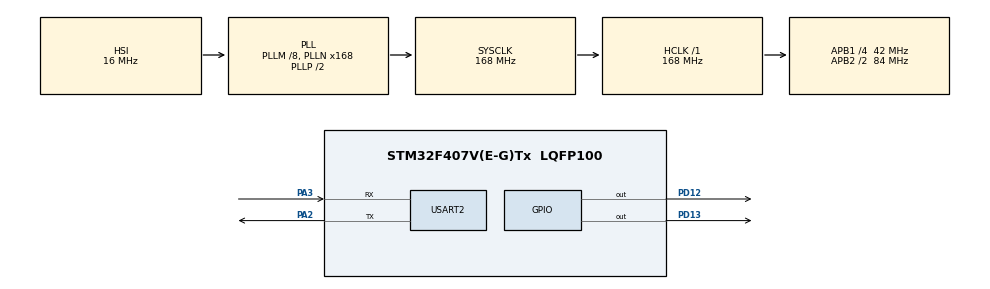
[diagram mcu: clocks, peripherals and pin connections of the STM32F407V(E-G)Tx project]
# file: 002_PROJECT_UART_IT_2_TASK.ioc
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FREERTOS.Tasks01=Task01,0,128,LEDTask01,Default,NULL,Dynamic,NULL,NULL;Task02,0,128,ECHOTask02,Default,NULL,Dynamic,NULL,NULL
Mcu.Family=STM32F4
Mcu.Name=STM32F407V(E-G)Tx
Mcu.Package=LQFP100
NVIC.PriorityGroup=NVIC_PRIORITYGROUP_4
NVIC.TIM1_UP_TIM10_IRQn=true\:15\:0\:false\:false\:true\:false\:false\:true\:true
NVIC.TimeBase=TIM1_UP_TIM10_IRQn
NVIC.TimeBaseIP=TIM1
NVIC.USART2_IRQn=true\:5\:0\:false\:false\:true\:true\:true\:true\:true
PA2.Mode=Asynchronous
PA2.Signal=USART2_TX
PA3.Mode=Asynchronous
PA3.Signal=USART2_RX
PD12.Signal=GPIO_Output
PD13.Signal=GPIO_Output
PH0-OSC_IN.Mode=HSE-External-Oscillator
PH0-OSC_IN.Signal=RCC_OSC_IN
PH1-OSC_OUT.Mode=HSE-External-Oscillator
PH1-OSC_OUT.Signal=RCC_OSC_OUT
ProjectManager.HeapSize=0x200
ProjectManager.StackSize=0x400
ProjectManager.TargetToolchain=STM32CubeIDE
RCC.48MHZClocksFreq_Value=48000000
RCC.AHBFreq_Value=168000000
RCC.APB1CLKDivider=RCC_HCLK_DIV4
RCC.APB1Freq_Value=42000000
RCC.APB1TimFreq_Value=84000000
RCC.APB2CLKDivider=RCC_HCLK_DIV2
RCC.APB2Freq_Value=84000000
RCC.APB2TimFreq_Value=168000000
RCC.CortexFreq_Value=168000000
RCC.HCLKFreq_Value=168000000
RCC.HSE_VALUE=8000000
RCC.HSI_VALUE=16000000
RCC.LSE_VALUE=32768
RCC.PLLM=8
RCC.PLLN=168
RCC.PLLQ=7
RCC.SYSCLKFreq_VALUE=168000000
RCC.SYSCLKSource=RCC_SYSCLKSOURCE_PLLCLK
RCC.VCOOutputFreq_Value=336000000
USART2.VirtualMode=VM_ASYNC
VP_FREERTOS_VS_CMSIS_V1.Mode=CMSIS_V1
VP_SYS_VS_tim1.Mode=TIM1
board=STM32F407G-DISC1

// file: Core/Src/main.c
/* USER CODE BEGIN Header */
/**
  ******************************************************************************
  * @file           : main.c
  * @brief          : Main program body
  ******************************************************************************
  * @attention
  *
  * Copyright (c) 2022 STMicroelectronics.
  * All rights reserved.
  *
  * This software is licensed under terms that can be found in the LICENSE file
  * in the root directory of this software component.
  * If no LICENSE file comes with this software, it is provided AS-IS.
  *
  ******************************************************************************
  */
/* USER CODE END Header */
#include "main.h"
#include "cmsis_os.h"

/* USER CODE BEGIN Includes */

#include <stdio.h>
#include <string.h>

/* USER CODE END Includes */

/* USER CODE BEGIN PTD */

typedef struct				// Uart_InitTypeDef Struct for configuring the UART Parameters.
{
	uint32_t baudrate;
	uint8_t uart_parameters;

}Uart_InitTypeDef;

/* USER CODE END PTD */

UART_HandleTypeDef huart2;

osThreadId Task01Handle;
osThreadId Task02Handle;
/* USER CODE BEGIN PV */

char tx_buffer[20];
char rx_buffer[10];
char rx_call_buffer[1];
uint8_t rx_stop = 0;
uint8_t rx_ledon = 0;
uint8_t rx_ledoff = 0;
uint8_t count = 0;
uint8_t i = 0;

/* USER CODE END PV */

void SystemClock_Config(void);
static void MX_GPIO_Init(void);
static void MX_USART2_UART_Init(void);
void LEDTask01(void const * argument);
void ECHOTask02(void const * argument);

int main(void)
{

  /* MCU Configuration--------------------------------------------------------*/

  /* Reset of all peripherals, Initializes the Flash interface and the Systick. */
  HAL_Init();

  /* Configure the system clock */
  SystemClock_Config();

  /* Initialize all configured peripherals */
  MX_GPIO_Init();
  MX_USART2_UART_Init();

  /* Create the thread(s) */
  /* definition and creation of Task01 */
  osThreadDef(Task01, LEDTask01, osPriorityNormal, 0, 128);
  Task01Handle = osThreadCreate(osThread(Task01), NULL);

  /* definition and creation of Task02 */
  osThreadDef(Task02, ECHOTask02, osPriorityNormal, 0, 128);
  Task02Handle = osThreadCreate(osThread(Task02), NULL);

  /* Start scheduler */
  osKernelStart();

  /* We should never get here as control is now taken by the scheduler */
  /* Infinite loop */
  while (1)
  {

  }
}

void SystemClock_Config(void)
{
  RCC_OscInitTypeDef RCC_OscInitStruct = {0};
  RCC_ClkInitTypeDef RCC_ClkInitStruct = {0};

  /** Configure the main internal regulator output voltage
  */
  __HAL_RCC_PWR_CLK_ENABLE();
  __HAL_PWR_VOLTAGESCALING_CONFIG(PWR_REGULATOR_VOLTAGE_SCALE1);

  /** Initializes the RCC Oscillators according to the specified parameters
  * in the RCC_OscInitTypeDef structure.
  */
  RCC_OscInitStruct.OscillatorType = RCC_OSCILLATORTYPE_HSI;
  RCC_OscInitStruct.HSIState = RCC_HSI_ON;
  RCC_OscInitStruct.HSICalibrationValue = RCC_HSICALIBRATION_DEFAULT;
  RCC_OscInitStruct.PLL.PLLState = RCC_PLL_ON;
  RCC_OscInitStruct.PLL.PLLSource = RCC_PLLSOURCE_HSI;
  RCC_OscInitStruct.PLL.PLLM = 8;
  RCC_OscInitStruct.PLL.PLLN = 168;
  RCC_OscInitStruct.PLL.PLLP = RCC_PLLP_DIV2;
  RCC_OscInitStruct.PLL.PLLQ = 7;
  if (HAL_RCC_OscConfig(&RCC_OscInitStruct) != HAL_OK)
  {
    Error_Handler();
  }

  /** Initializes the CPU, AHB and APB buses clocks
  */
  RCC_ClkInitStruct.ClockType = RCC_CLOCKTYPE_HCLK|RCC_CLOCKTYPE_SYSCLK
                              |RCC_CLOCKTYPE_PCLK1|RCC_CLOCKTYPE_PCLK2;
  RCC_ClkInitStruct.SYSCLKSource = RCC_SYSCLKSOURCE_PLLCLK;
  RCC_ClkInitStruct.AHBCLKDivider = RCC_SYSCLK_DIV1;
  RCC_ClkInitStruct.APB1CLKDivider = RCC_HCLK_DIV4;
  RCC_ClkInitStruct.APB2CLKDivider = RCC_HCLK_DIV2;

  if (HAL_RCC_ClockConfig(&RCC_ClkInitStruct, FLASH_LATENCY_5) != HAL_OK)
  {
    Error_Handler();
  }
}

static void MX_USART2_UART_Init(void)
{

  /**********************************************************************************************************
  *																									   	    *
  * 	STRUCT		 : Uart_InitTypeDef															    		*
  * 	DESCRIPTIONS : Uart initialization parameters struct. Configure the uart initialization parameters  *
  *				   with switch-case operation.															    *
  *																									        *
  ***********************************************************************************************************/

	Uart_InitTypeDef Uart_InitStruct;

	huart2.Instance = USART2;

	Uart_InitStruct.baudrate = 5;
	Uart_InitStruct.uart_parameters = 1;

	switch(Uart_InitStruct.baudrate)
	{
	case 0:
		huart2.Init.BaudRate = 4800;
		break;
	case 1:
		huart2.Init.BaudRate = 9600;
		break;
	case 2:
		huart2.Init.BaudRate = 19200;
		break;
	case 3:
		huart2.Init.BaudRate = 38400;
		break;
	case 4:
		huart2.Init.BaudRate = 57600;
		break;
	case 5:
		huart2.Init.BaudRate = 115200;
		break;
	default :
		huart2.Init.BaudRate = 115200;
		break;
	}

	switch(Uart_InitStruct.uart_parameters)
	{
	case 0:
		huart2.Init.WordLength = UART_WORDLENGTH_8B;
		huart2.Init.StopBits = UART_STOPBITS_1;
		huart2.Init.Parity = UART_PARITY_NONE;
		break;
	case 1:
		huart2.Init.WordLength = UART_WORDLENGTH_8B;
		huart2.Init.StopBits = UART_STOPBITS_2;
		huart2.Init.Parity = UART_PARITY_NONE;
		break;
	case 2:
		huart2.Init.WordLength = UART_WORDLENGTH_8B;
		huart2.Init.StopBits = UART_STOPBITS_1;
		huart2.Init.Parity = UART_PARITY_ODD;
		break;
	case 3:
		huart2.Init.WordLength = UART_WORDLENGTH_8B;
		huart2.Init.StopBits = UART_STOPBITS_2;
		huart2.Init.Parity = UART_PARITY_ODD;
		break;
	case 4:
		huart2.Init.WordLength = UART_WORDLENGTH_8B;
		huart2.Init.StopBits = UART_STOPBITS_1;
		huart2.Init.Parity = UART_PARITY_EVEN;
		break;
	case 5:
		huart2.Init.WordLength = UART_WORDLENGTH_8B;
		huart2.Init.StopBits = UART_STOPBITS_2;
		huart2.Init.Parity = UART_PARITY_EVEN;
		break;
	case 6:
		huart2.Init.WordLength = UART_WORDLENGTH_9B;
		huart2.Init.StopBits = UART_STOPBITS_1;
		huart2.Init.Parity = UART_PARITY_NONE;
		break;
	case 7:
		huart2.Init.WordLength = UART_WORDLENGTH_9B;
		huart2.Init.StopBits = UART_STOPBITS_2;
		huart2.Init.Parity = UART_PARITY_NONE;
		break;
	case 8:
		huart2.Init.WordLength = UART_WORDLENGTH_9B;
		huart2.Init.StopBits = UART_STOPBITS_1;
		huart2.Init.Parity = UART_PARITY_ODD;
		break;
	case 9:
		huart2.Init.WordLength = UART_WORDLENGTH_9B;
		huart2.Init.StopBits = UART_STOPBITS_2;
		huart2.Init.Parity = UART_PARITY_ODD;
		break;
	case 10:
		huart2.Init.WordLength = UART_WORDLENGTH_9B;
		huart2.Init.StopBits = UART_STOPBITS_1;
		huart2.Init.Parity = UART_PARITY_EVEN;
		break;
	case 11:
		huart2.Init.WordLength = UART_WORDLENGTH_9B;
		huart2.Init.StopBits = UART_STOPBITS_2;
		huart2.Init.Parity = UART_PARITY_EVEN;
		break;
	default :
		huart2.Init.WordLength = UART_WORDLENGTH_8B;
		huart2.Init.StopBits = UART_STOPBITS_1;
		huart2.Init.Parity = UART_PARITY_NONE;
		break;
	}

  huart2.Init.Mode = UART_MODE_TX_RX;
  huart2.Init.HwFlowCtl = UART_HWCONTROL_NONE;
  huart2.Init.OverSampling = UART_OVERSAMPLING_16;
  if (HAL_UART_Init(&huart2) != HAL_OK)
  {
    Error_Handler();
  }

}

static void MX_GPIO_Init(void)
{
  GPIO_InitTypeDef GPIO_InitStruct = {0};

  /* GPIO Ports Clock Enable */
  __HAL_RCC_GPIOH_CLK_ENABLE();
  __HAL_RCC_GPIOA_CLK_ENABLE();
  __HAL_RCC_GPIOD_CLK_ENABLE();

  /*Configure GPIO pin Output Level */
  HAL_GPIO_WritePin(GPIOD, GPIO_PIN_12|GPIO_PIN_13, GPIO_PIN_RESET);

  /*Configure GPIO pins : PD12 PD13 */
  GPIO_InitStruct.Pin = GPIO_PIN_12|GPIO_PIN_13;
  GPIO_InitStruct.Mode = GPIO_MODE_OUTPUT_PP;
  GPIO_InitStruct.Pull = GPIO_NOPULL;
  GPIO_InitStruct.Speed = GPIO_SPEED_FREQ_LOW;
  HAL_GPIO_Init(GPIOD, &GPIO_InitStruct);

}

/* USER CODE BEGIN 4 */

  /**********************************************************************************************************
  *																									    	*
  * 	FUNCTION	 : HAL_UART_RxCpltCallback															    *
  * 	DESCRIPTIONS : UART Interrupt Receive Function. Getting receive data from rx_call_buffer, then		*
  * 				   count each index of the data and write in rx_buffer. 		  						*
  *																									  		*
  **********************************************************************************************************/

void HAL_UART_RxCpltCallback(UART_HandleTypeDef *huart)
{
	/* rx_buffer start over solution. */
	rx_buffer[count] = *rx_call_buffer;
	count++;

  HAL_UART_Receive_IT(&huart2, (uint8_t*)rx_call_buffer, 1);

	if (*rx_call_buffer == '\n')
	{
		count = 0;
	}
}

/* USER CODE END 4 */

/* USER CODE BEGIN Header_LEDTask01 */
/**
  * @brief  Function implementing the Task01 thread.
  * @param  argument: Not used
  * @retval None
  */

  /**********************************************************************************************************
  *																									    	*
  * 	FUNCTION	 : LEDTask01()																		    *
  * 	DESCRIPTIONS : Led blink with special times and Receive the strings with UART Interrupt. 		  	*
  *																									    	*
  **********************************************************************************************************/

/* USER CODE END Header_LEDTask01 */
void LEDTask01(void const * argument)
{
  /* USER CODE BEGIN 5 */
  /* Infinite loop */
  for(;;)
  {
	  HAL_UART_Receive_IT(&huart2, (uint8_t*)rx_call_buffer, 1);

      if (rx_buffer[0] == 's' && rx_buffer[1] == 't' && rx_buffer[2] == 'a' && rx_buffer[3] == 'r' && rx_buffer[4] == 't')		// "start" string.
	  {
		  vTaskResume(Task02Handle);
		  rx_stop = 0;
		  strcpy (tx_buffer, rx_buffer);
		  i = 6;
	  }

      else if (rx_buffer[0] == 'l' && rx_buffer[1] == 'e' && rx_buffer[2] == 'd' && rx_buffer[3] == 'o' && rx_buffer[4] == 'n' &&	// "ledon500" string.
			  rx_buffer[5] == '5' && rx_buffer[6] == '0' && rx_buffer[7] == '0')
	  {
		  rx_ledon = 1;
		  strcpy (tx_buffer, rx_buffer);
		  i = 9;
	  }

      else if (rx_buffer[0] == 'l' && rx_buffer[1] == 'e' && rx_buffer[2] == 'd' && rx_buffer[3] == 'o' && rx_buffer[4] == 'f' &&	// "ledoff500" string.
			  rx_buffer[5] == 'f' && rx_buffer[6] == '5' && rx_buffer[7] == '0' && rx_buffer[8] == '0')
	  {
		  rx_ledoff = 1;
		  strcpy (tx_buffer, rx_buffer);
		  i = 10;
	  }

      if (rx_stop == 0 && rx_ledon == 0 && rx_ledoff == 0)		// Default mode.
	  {
		  HAL_GPIO_WritePin(GPIOD, GPIO_PIN_12, GPIO_PIN_SET);
		  HAL_Delay(300);
		  HAL_GPIO_WritePin(GPIOD, GPIO_PIN_12, GPIO_PIN_RESET);
		  HAL_Delay(700);
	  }

	  else if (rx_stop == 1)
	  {
		  HAL_GPIO_TogglePin(GPIOD, GPIO_PIN_12);		// Led state control with "stop" string
		  HAL_Delay(1000);
	  }

	  else if (rx_stop == 0 && rx_ledon == 1 && rx_ledoff == 0)			// Only "ledon500" string receive state.
	  {
		  HAL_GPIO_WritePin(GPIOD, GPIO_PIN_12, GPIO_PIN_SET);
		  HAL_Delay(500);
		  HAL_GPIO_WritePin(GPIOD, GPIO_PIN_12, GPIO_PIN_RESET);
		  HAL_Delay(700);
	  }

	  else if (rx_stop == 0 && rx_ledon == 1 && rx_ledoff == 1)			// "ledon500" && "ledoff500" strings receive state.
	  {
		  HAL_GPIO_WritePin(GPIOD, GPIO_PIN_12, GPIO_PIN_SET);
		  HAL_Delay(500);
		  HAL_GPIO_WritePin(GPIOD, GPIO_PIN_12, GPIO_PIN_RESET);
		  HAL_Delay(500);
	  }

	  else if (rx_stop == 0 && rx_ledon == 0 && rx_ledoff == 1)			// Only "ledoff500" string receive state.
	  {
		  HAL_GPIO_WritePin(GPIOD, GPIO_PIN_12, GPIO_PIN_SET);
		  HAL_Delay(300);
		  HAL_GPIO_WritePin(GPIOD, GPIO_PIN_12, GPIO_PIN_RESET);
		  HAL_Delay(500);
	  }

  }
  /* USER CODE END 5 */
}

/* USER CODE BEGIN Header_ECHOTask02 */
/**
* @brief Function implementing the Task02 thread.
* @param argument: Not used
* @retval None
*/

  /**********************************************************************************************************
  *																									    	*
  * 	FUNCTION	 : ECHOTask02()																		    *
  * 	DESCRIPTIONS : Echo the data when receive string from UART Interrupt. 		  						*
  *																										    *
  **********************************************************************************************************/

/* USER CODE END Header_ECHOTask02 */
void ECHOTask02(void const * argument)
{
  /* USER CODE BEGIN ECHOTask02 */
  /* Infinite loop */
  for(;;)
  {
	  HAL_UART_Transmit_IT(&huart2, (uint8_t*)tx_buffer, i);		// ECHO working in this line.
	  osDelay(1000);

	  HAL_UART_Receive_IT(&huart2, (uint8_t*)rx_call_buffer, 1);

	  if (rx_buffer[0] == 's' && rx_buffer[1] == 't' && rx_buffer[2] == 'o' && rx_buffer[3] == 'p')		// Echo task will be suspend with "stop" string.
	  {
		  rx_stop = 1;
		  vTaskSuspend(Task02Handle);
	  }
  }
  /* USER CODE END ECHOTask02 */
}

void HAL_TIM_PeriodElapsedCallback(TIM_HandleTypeDef *htim)
{
  if (htim->Instance == TIM1) {
    HAL_IncTick();
  }
}

void Error_Handler(void)
{
  __disable_irq();
  while (1)
  {
  }
}
